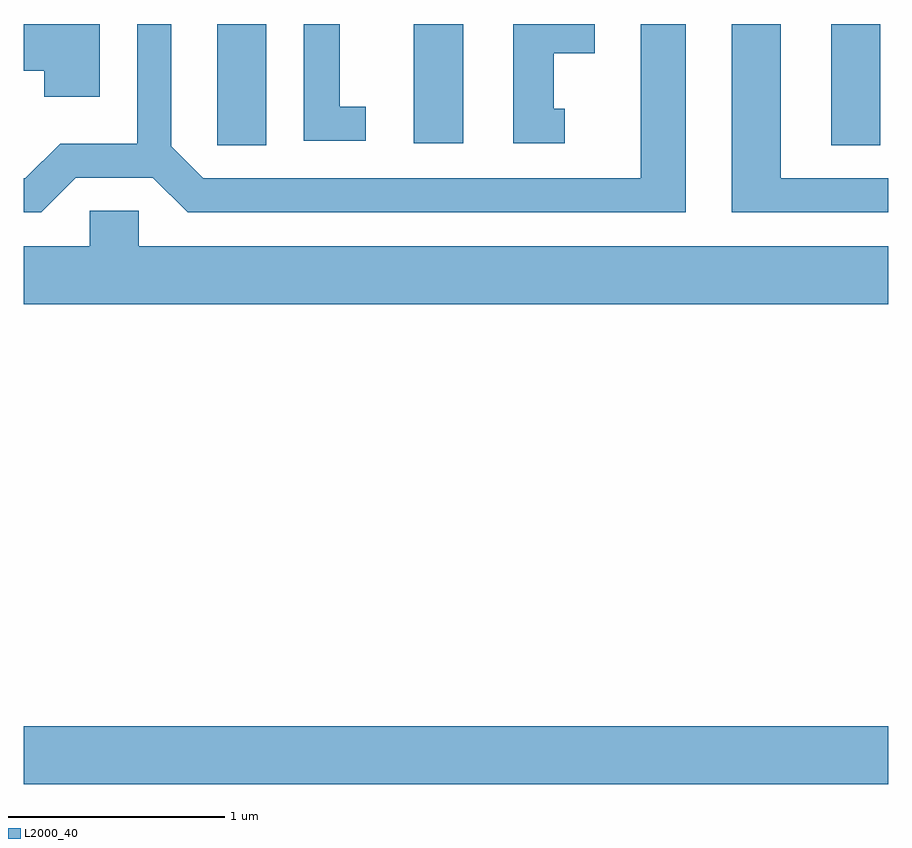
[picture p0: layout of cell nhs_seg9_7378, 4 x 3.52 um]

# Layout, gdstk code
import gdstk
lib = gdstk.Library(unit=1e-6, precision=1e-09)
def R(c, l, rs):  # rectangles x0, y0, x1, y1
    for r in rs: c.add(gdstk.rectangle(r[:2], r[2:], *l))
def P(c, l, *ps):  # polygons
    for p in ps: c.add(gdstk.Polygon(p, *l))
L2000_40 = (2000, 40)

nhs_seg9_7378 = lib.new_cell('nhs_seg9_7378')
R(nhs_seg9_7378, L2000_40, [(403.611,2002.916,407.611,2003.184), (404.506,2005.871,404.734,2006.432), (407.346,2005.871,407.574,2006.432), (405.416,2005.881,405.644,2006.432)])
P(nhs_seg9_7378, L2000_40, [(405.193,2006.049),(405.074,2006.049),(405.074,2006.432),(404.906,2006.432),(404.906,2005.891),(405.193,2005.891)],
  [(403.852,2005.721),(404.209,2005.721),(404.369,2005.561),(406.674,2005.561),(406.674,2006.432),(406.466,2006.432),(406.466,2005.719),(404.442,2005.719),(404.294,2005.867),(404.294,2006.432),(404.136,2006.432),(404.136,2005.879),(403.779,2005.879),(403.619,2005.719),(403.611,2005.719),(403.611,2005.561),(403.692,2005.561)],
  [(403.964,2006.432),(403.611,2006.432),(403.611,2006.216),(403.706,2006.216),(403.706,2006.096),(403.964,2006.096)],
  [(407.611,2005.719),(407.114,2005.719),(407.114,2006.432),(406.886,2006.432),(406.886,2005.561),(407.611,2005.561)],
  [(406.113,2006.039),(406.064,2006.039),(406.064,2006.296),(406.254,2006.296),(406.254,2006.432),(405.876,2006.432),(405.876,2005.881),(406.113,2005.881)],
  [(407.611,2005.404),(404.144,2005.404),(404.144,2005.569),(403.916,2005.569),(403.916,2005.404),(403.611,2005.404),(403.611,2005.136),(407.611,2005.136)])

lib.write_gds('nhs_seg9_7378.gds')
